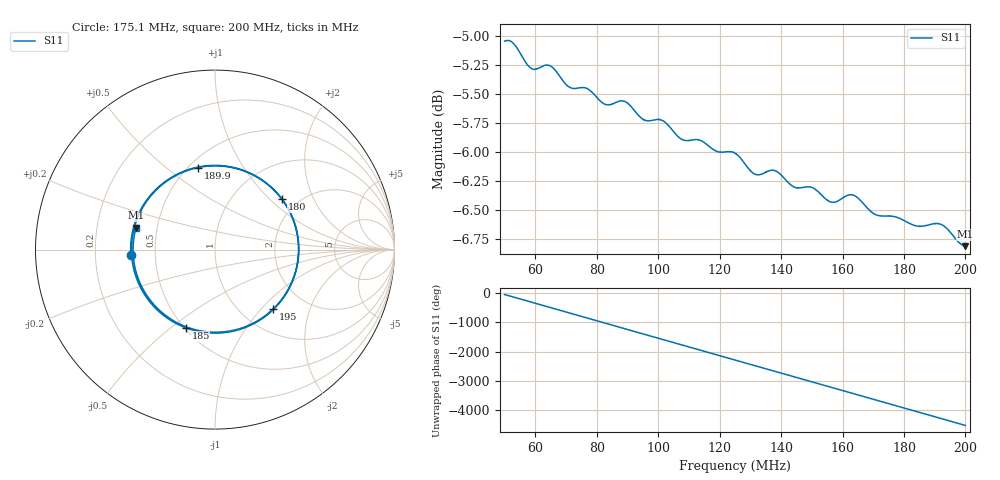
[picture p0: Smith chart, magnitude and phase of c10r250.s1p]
! COPPER MOUNTAIN TECHNOLOGIES, PLANAR TR1300/1, 00071119, 20.2.2/1.0
! Date: 1/7/2024 7:20:54 PM
! Data: Format [Calibration Info]
! Freq  S11: Re/Im F1
# HZ S RI R 50
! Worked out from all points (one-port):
!   12288 points, 50 MHz to 200 MHz, reference 50 ohm
!   lowest |S11| = -6.8 dB at 200 MHz (marker M1), VSWR 2.68, Z = 19 + j5.82 ohm
!   |S11| at or under -10 dB: nowhere
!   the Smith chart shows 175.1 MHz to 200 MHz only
!   S11 on the Smith chart (normalised r, x): 175.1 MHz: 0.36, -0.03; 180 MHz: 1.66, +1.19; 185 MHz: 0.51, -0.57; 189.9 MHz: 0.55, +0.65; 195 MHz: 1.38, -1.17; 200 MHz: 0.38, +0.12
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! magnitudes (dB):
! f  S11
! 50 MHz  -5.0
! 52.94 MHz  -5.1
! 58.55 MHz  -5.3
! 64.55 MHz  -5.3
! 68.75 MHz  -5.4
! 71.64 MHz  -5.5
! 77.13 MHz  -5.5
! 82.72 MHz  -5.6
! 87.5 MHz  -5.6
! 95.45 MHz  -5.7
! 101.7 MHz  -5.7
! 106.3 MHz  -5.9
! 125 MHz  -6.0
! 131.2 MHz  -6.2
! 138 MHz  -6.2
! 143.8 MHz  -6.3
! 150.2 MHz  -6.3
! 156.6 MHz  -6.4
! 162.5 MHz  -6.4
! 170.4 MHz  -6.5
! 175.1 MHz  -6.6
! 180 MHz  -6.6
! 181.3 MHz  -6.6
! 185 MHz  -6.6
! 189.9 MHz  -6.6
! 195 MHz  -6.7
! 200 MHz  -6.8
! 200 MHz  -6.8
